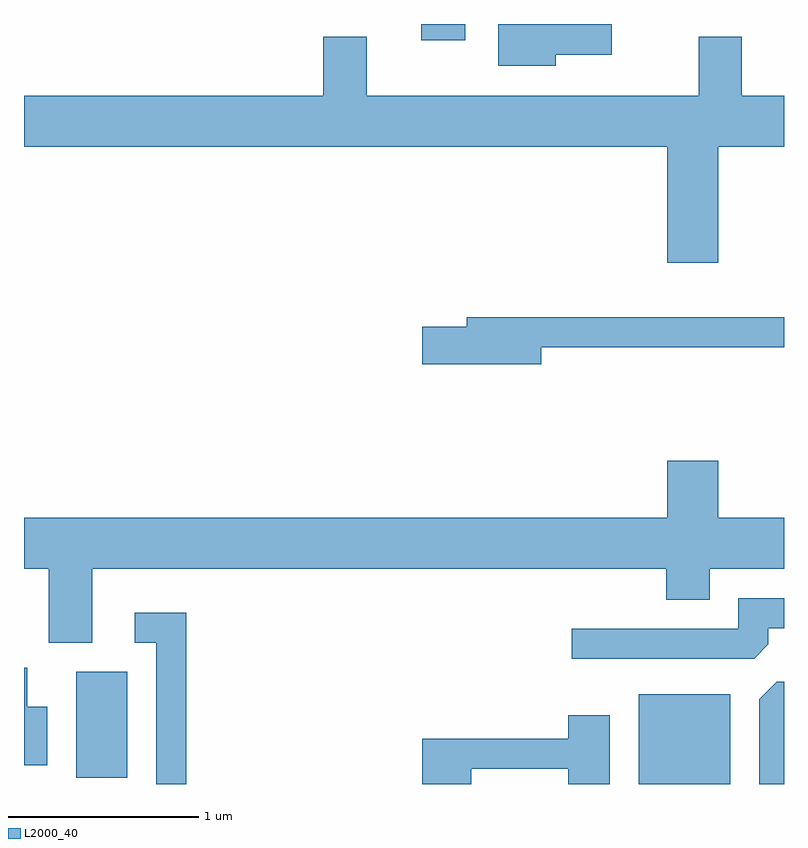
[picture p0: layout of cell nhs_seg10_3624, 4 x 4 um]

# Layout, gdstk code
import gdstk
lib = gdstk.Library(unit=1e-6, precision=1e-09)
def R(c, l, rs):  # rectangles x0, y0, x1, y1
    for r in rs: c.add(gdstk.rectangle(r[:2], r[2:], *l))
def P(c, l, *ps):  # polygons
    for p in ps: c.add(gdstk.Polygon(p, *l))
L2000_40 = (2000, 40)

nhs_seg10_3624 = lib.new_cell('nhs_seg10_3624')
R(nhs_seg10_3624, L2000_40, [(294.846,2150.522,295.329,2150.994), (291.886,2150.556,292.154,2151.114), (293.701,2154.436,293.934,2154.522)])
P(nhs_seg10_3624, L2000_40, [(294.409,2154.361),(294.704,2154.361),(294.704,2154.522),(294.106,2154.522),(294.106,2154.301),(294.409,2154.301)],
  [(295.264,2153.876),(295.611,2153.876),(295.611,2154.144),(295.389,2154.144),(295.389,2154.454),(295.161,2154.454),(295.161,2154.144),(293.414,2154.144),(293.414,2154.454),(293.186,2154.454),(293.186,2154.144),(291.611,2154.144),(291.611,2153.876),(294.996,2153.876),(294.996,2153.266),(295.264,2153.266)],
  [(294.334,2152.821),(295.611,2152.821),(295.611,2152.979),(293.941,2152.979),(293.941,2152.929),(293.706,2152.929),(293.706,2152.731),(294.334,2152.731)],
  [(291.969,2151.656),(294.991,2151.656),(294.991,2151.491),(295.219,2151.491),(295.219,2151.656),(295.611,2151.656),(295.611,2151.924),(295.264,2151.924),(295.264,2152.224),(294.996,2152.224),(294.996,2151.924),(291.611,2151.924),(291.611,2151.656),(291.741,2151.656),(291.741,2151.266),(291.969,2151.266)],
  [(295.529,2151.257),(295.529,2151.341),(295.611,2151.341),(295.611,2151.499),(295.371,2151.499),(295.371,2151.339),(294.493,2151.339),(294.493,2151.181),(295.454,2151.181)],
  [(292.464,2151.424),(292.193,2151.424),(292.193,2151.266),(292.306,2151.266),(292.306,2150.522),(292.464,2150.522)],
  [(291.734,2150.929),(291.629,2150.929),(291.629,2151.134),(291.611,2151.134),(291.611,2150.621),(291.734,2150.621)],
  [(295.611,2151.059),(295.572,2151.059),(295.481,2150.969),(295.481,2150.522),(295.611,2150.522)],
  [(293.964,2150.601),(294.476,2150.601),(294.476,2150.522),(294.694,2150.522),(294.694,2150.884),(294.476,2150.884),(294.476,2150.759),(293.706,2150.759),(293.706,2150.522),(293.964,2150.522)])

lib.write_gds('nhs_seg10_3624.gds')
